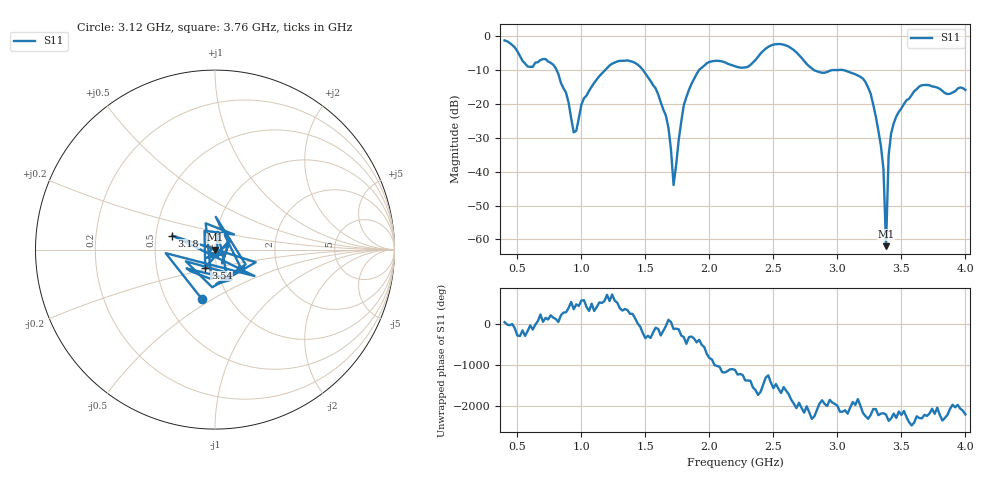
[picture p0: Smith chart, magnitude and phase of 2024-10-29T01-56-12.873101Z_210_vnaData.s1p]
!Created with skrf (http://scikit-rf.org).
# Hz S RI R 50.0
!freq ReS11 ImS11
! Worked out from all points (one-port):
!   181 points, 400 MHz to 4 GHz, reference 50 ohm
!   lowest |S11| = -62.0 dB at 3.38 GHz (marker M1), VSWR 1.00, Z = 50 - j0.0658 ohm
!   |S11| at or under -10 dB: 806.7 MHz to 1.184 GHz (377.4 MHz wide, 37.9 % of centre); 1.482 GHz to 1.918 GHz (436.2 MHz wide, 25.7 % of centre); 3.05 GHz to end of sweep (the widest 3 of 4)
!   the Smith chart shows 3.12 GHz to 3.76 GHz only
!   S11 on the Smith chart (normalised r, x): 3.12 GHz: 0.75, -0.45; 3.18 GHz: 0.61, +0.10; 3.54 GHz: 0.88, -0.18; 3.76 GHz: 1.31, -0.28
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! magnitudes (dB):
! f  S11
! 400 MHz  -1.2
! 580 MHz  -8.9
! 780 MHz  -8.4
! 860 MHz  -15.3
! 940 MHz  -28.4
! 1.02 GHz  -18.3
! 1.3 GHz  -7.2
! 1.58 GHz  -15.4
! 1.68 GHz  -27.0
! 1.72 GHz  -43.9
! 1.76 GHz  -30.7
! 1.8 GHz  -20.3
! 1.92 GHz  -9.9
! 2.2 GHz  -8.8
! 2.66 GHz  -4.1
! 3.1 GHz  -10.7
! 3.12 GHz  -10.9
! 3.18 GHz  -12.0
! 3.26 GHz  -16.9
! 3.34 GHz  -32.4
! 3.36 GHz  -39.3
! 3.38 GHz  -62.0
! 3.4 GHz  -35.2
! 3.42 GHz  -28.6
! 3.54 GHz  -18.9
! 3.56 GHz  -18.4
! 3.76 GHz  -14.9
! 4 GHz  -15.8
